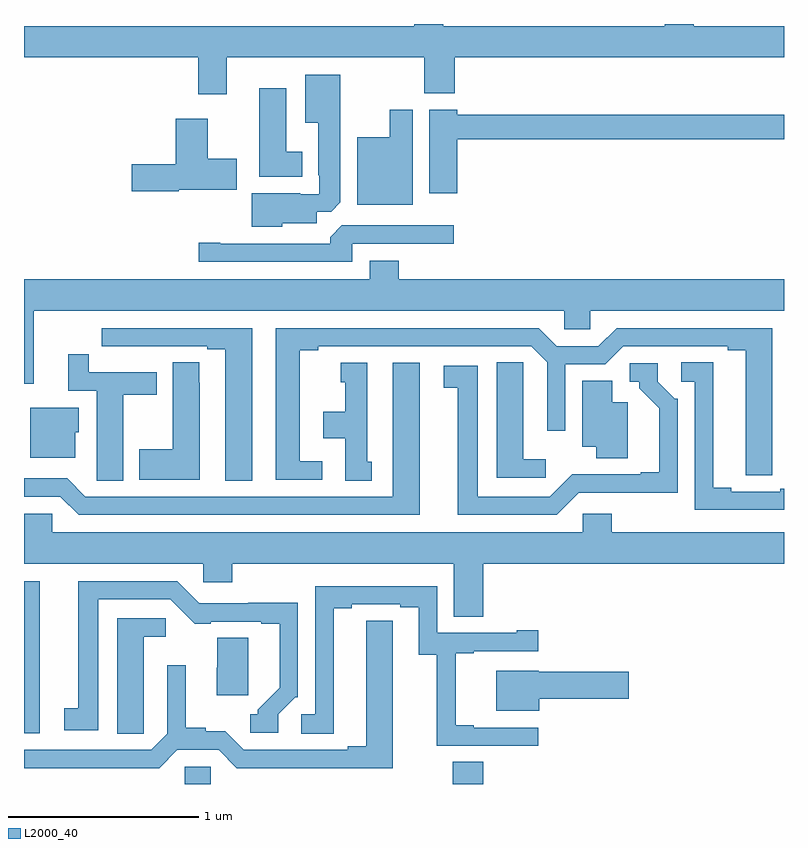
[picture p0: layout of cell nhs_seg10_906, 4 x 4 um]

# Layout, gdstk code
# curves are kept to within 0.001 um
import gdstk
lib = gdstk.Library(unit=1e-6, precision=1e-09)
def R(c, l, rs):  # rectangles x0, y0, x1, y1
    for r in rs: c.add(gdstk.rectangle(r[:2], r[2:], *l))
def P(c, l, *ps):  # polygons
    for p in ps: c.add(gdstk.Polygon(p, *l))
L2000_40 = (2000, 40)

nhs_seg10_906 = lib.new_cell('nhs_seg10_906')
R(nhs_seg10_906, L2000_40, [(157.845,1288.5,157.983,1288.59), (159.256,1288.5,159.416,1288.616), (157,1288.767,157.084,1289.568)])
P(nhs_seg10_906, L2000_40, [(158.068,1292.324),(159.106,1292.324),(159.106,1292.135),(159.266,1292.135),(159.266,1292.324),(161,1292.324),(161,1292.488),(160.526,1292.488),(160.526,1292.5),(160.373,1292.5),(160.373,1292.488),(159.206,1292.488),(159.206,1292.5),(159.054,1292.5),(159.054,1292.488),(157,1292.488),(157,1292.324),(157.916,1292.324),(157.916,1292.13),(158.068,1292.13)],
  [(158.358,1291.451),(158.542,1291.451),(158.542,1291.512),(158.616,1291.512),(158.665,1291.561),(158.665,1292.233),(158.48,1292.233),(158.48,1291.979),(158.549,1291.979),(158.549,1291.705),(158.553,1291.705),(158.553,1291.605),(158.453,1291.605),(158.453,1291.609),(158.198,1291.609),(158.198,1291.433),(158.358,1291.433)],
  [(158.464,1291.828),(158.38,1291.828),(158.38,1292.161),(158.237,1292.161),(158.237,1291.697),(158.464,1291.697)],
  [(159.046,1292.05),(158.924,1292.05),(158.924,1291.903),(158.753,1291.903),(158.753,1291.55),(159.046,1291.55)],
  [(159.281,1291.894),(161,1291.894),(161,1292.023),(159.281,1292.023),(159.281,1292.05),(159.134,1292.05),(159.134,1291.608),(159.281,1291.608)],
  [(157.815,1291.628),(158.119,1291.628),(158.119,1291.791),(157.966,1291.791),(157.966,1292.002),(157.799,1292.002),(157.799,1291.763),(157.566,1291.763),(157.566,1291.621),(157.815,1291.621)],
  [(158.727,1291.344),(159.262,1291.344),(159.262,1291.44),(158.673,1291.44),(158.612,1291.378),(158.612,1291.344),(158.032,1291.344),(158.032,1291.349),(157.92,1291.349),(157.92,1291.248),(158.727,1291.248)],
  [(158.819,1291.255),(158.819,1291.156),(157,1291.156),(157,1290.606),(157.052,1290.606),(157.052,1290.992),(159.843,1290.992),(159.843,1290.894),(159.981,1290.894),(159.981,1290.992),(161,1290.992),(161,1291.156),(158.972,1291.156),(158.972,1291.255)],
  [(158.569,1290.198),(158.452,1290.198),(158.452,1290.784),(158.548,1290.784),(158.548,1290.804),(159.669,1290.804),(159.753,1290.72),(159.753,1290.36),(159.849,1290.36),(159.849,1290.708),(160.059,1290.708),(160.155,1290.804),(160.703,1290.804),(160.703,1290.784),(160.799,1290.784),(160.799,1290.124),(160.938,1290.124),(160.939,1290.9),(160.119,1290.9),(160.023,1290.804),(159.805,1290.804),(159.709,1290.9),(158.324,1290.9),(158.324,1290.102),(158.569,1290.102)],
  [(158.2,1290.9),(157.41,1290.9),(157.41,1290.804),(157.522,1290.804),(157.522,1290.803),(157.688,1290.803),(157.688,1290.804),(157.964,1290.804),(157.964,1290.789),(158.06,1290.789),(158.06,1290.097),(158.2,1290.097)],
  [(157.522,1290.55),(157.699,1290.55),(157.699,1290.666),(157.34,1290.666),(157.34,1290.763),(157.232,1290.763),(157.232,1290.57),(157.382,1290.57),(157.382,1290.208),(157.383,1290.208),(157.383,1290.097),(157.522,1290.097)],
  [(157.924,1290.611),(157.923,1290.611),(157.923,1290.719),(157.784,1290.719),(157.784,1290.261),(157.607,1290.261),(157.607,1290.101),(157.924,1290.101)],
  [(161,1290.054),(160.979,1290.054),(160.979,1290.039),(160.723,1290.039),(160.723,1290.059),(160.627,1290.059),(160.627,1290.719),(160.458,1290.719),(160.458,1290.618),(160.53,1290.618),(160.53,1289.943),(161,1289.943)],
  [(159.745,1290.208),(159.628,1290.208),(159.628,1290.611),(159.627,1290.611),(159.627,1290.719),(159.488,1290.719),(159.488,1290.111),(159.745,1290.111)],
  [(159.082,1290.718),(158.942,1290.718),(158.942,1290.012),(157.323,1290.012),(157.227,1290.108),(157,1290.108),(157,1290.012),(157.191,1290.012),(157.287,1289.916),(159.082,1289.916)],
  [(158.83,1290.195),(158.806,1290.195),(158.806,1290.718),(158.666,1290.718),(158.666,1290.615),(158.69,1290.615),(158.69,1290.46),(158.576,1290.46),(158.576,1290.32),(158.69,1290.32),(158.69,1290.097),(158.83,1290.097)],
  [(159.921,1290.033),(160.44,1290.032),(160.44,1290.528),(160.425,1290.528),(160.335,1290.618),(160.335,1290.714),(160.188,1290.714),(160.188,1290.618),(160.238,1290.618),(160.238,1290.583),(160.343,1290.478),(160.343,1290.142),(160.247,1290.142),(160.247,1290.129),(159.886,1290.13),(159.768,1290.012),(159.388,1290.012),(159.388,1290.702),(159.21,1290.702),(159.21,1290.586),(159.284,1290.586),(159.284,1289.916),(159.804,1289.916)],
  [(160.177,1290.508),(160.096,1290.508),(160.096,1290.623),(159.938,1290.623),(159.938,1290.275),(160.013,1290.275),(160.013,1290.214),(160.177,1290.214)],
  [(157.27,1290.351),(157.288,1290.351),(157.288,1290.481),(157.034,1290.481),(157.034,1290.218),(157.27,1290.218)],
  [(161,1289.824),(160.094,1289.824),(160.094,1289.922),(159.942,1289.922),(159.942,1289.824),(157.149,1289.824),(157.149,1289.922),(157,1289.922),(157,1289.66),(157.944,1289.66),(157.944,1289.562),(158.096,1289.562),(158.096,1289.66),(159.263,1289.66),(159.263,1289.38),(159.416,1289.38),(159.416,1289.66),(161,1289.66)],
  [(158.337,1288.866),(158.427,1288.956),(158.442,1288.956),(158.442,1289.453),(158.179,1289.453),(158.179,1289.451),(157.923,1289.451),(157.806,1289.568),(157.286,1289.568),(157.286,1288.898),(157.212,1288.898),(157.212,1288.782),(157.39,1288.782),(157.39,1289.472),(157.77,1289.472),(157.898,1289.344),(157.984,1289.344),(157.984,1289.355),(158.249,1289.355),(158.249,1289.343),(158.345,1289.343),(158.345,1289.006),(158.229,1288.89),(158.229,1288.866),(158.19,1288.866),(158.19,1288.77),(158.337,1288.77)],
  [(159.706,1288.797),(159.367,1288.797),(159.367,1288.81),(159.272,1288.81),(159.272,1289.187),(159.367,1289.187),(159.367,1289.199),(159.706,1289.199),(159.706,1289.308),(159.593,1289.308),(159.593,1289.295),(159.174,1289.295),(159.174,1289.541),(158.532,1289.541),(158.532,1288.866),(158.46,1288.866),(158.46,1288.765),(158.629,1288.765),(158.629,1289.425),(158.725,1289.425),(158.725,1289.445),(158.981,1289.445),(158.981,1289.43),(159.077,1289.43),(159.077,1289.179),(159.172,1289.179),(159.172,1288.701),(159.706,1288.701)],
  [(157.629,1288.873),(157.63,1288.873),(157.63,1289.276),(157.747,1289.276),(157.747,1289.373),(157.49,1289.373),(157.49,1288.765),(157.629,1288.765)],
  [(157.807,1288.68),(158.025,1288.68),(158.121,1288.584),(158.941,1288.584),(158.94,1289.36),(158.801,1289.36),(158.801,1288.7),(158.705,1288.7),(158.705,1288.68),(158.157,1288.68),(158.06,1288.778),(157.956,1288.778),(157.956,1288.796),(157.852,1288.796),(157.852,1289.125),(157.755,1289.125),(157.755,1288.764),(157.671,1288.68),(157,1288.68),(157,1288.584),(157.711,1288.584)],
  [(158.179,1289.27),(158.017,1289.27),(158.017,1289.112),(158.015,1289.112),(158.015,1288.968),(158.179,1288.968)],
  [(159.712,1288.948),(160.183,1288.948),(160.183,1289.09),(159.708,1289.09),(159.708,1289.095),(159.485,1289.095),(159.485,1288.886),(159.712,1288.886)])

lib.write_gds('nhs_seg10_906.gds')
